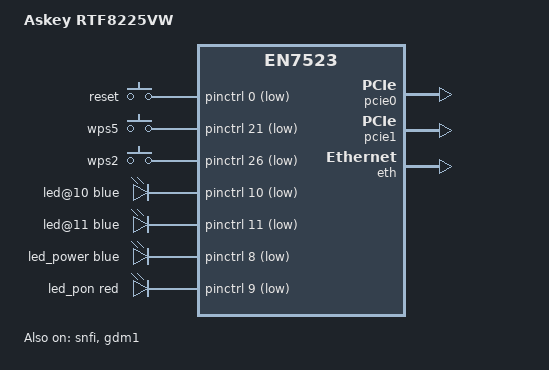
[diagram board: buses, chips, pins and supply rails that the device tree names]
// SPDX-License-Identifier: (GPL-2.0-only OR BSD-2-Clause)
/dts-v1/;

#include <dt-bindings/input/linux-event-codes.h>
#include <dt-bindings/leds/common.h>
#include <dt-bindings/gpio/gpio.h>
#include "en7523.dtsi"

/ {
	model = "Askey RTF8225VW";
	compatible = "askey,rtf8225vw", "airoha,en7523";

	aliases {
		serial0 = &uart1;
	};

	chosen {
		bootargs = "console=ttyS0,115200 earlycon";
		stdout-path = "serial0:115200n8";
		linux,usable-memory-range = <0x80200000 0x1fe00000>;
	};

	keys {
		compatible = "gpio-keys";

		reset {
			label = "reset";
			linux,code = <KEY_RESTART>;
			gpios = <&pinctrl 0 GPIO_ACTIVE_LOW>;
			debounce-interval = <60>;
		};

		wps5 {
			label = "wps5";
			linux,code = <KEY_WPS_BUTTON>;
			gpios = <&pinctrl 21 GPIO_ACTIVE_LOW>;
			debounce-interval = <60>;
		};

		wps2 {
			label = "wps2";
			linux,code = <KEY_WPS_BUTTON>;
			gpios = <&pinctrl 26 GPIO_ACTIVE_LOW>;
			debounce-interval = <60>;
		};
	};

	leds {
		compatible = "gpio-leds";

		/* 2.4Ghz */
		led@10 {
			color = <LED_COLOR_ID_BLUE>;
			function = LED_FUNCTION_WLAN_2GHZ;
			function-enumerator = <10>;
			gpios = <&pinctrl 10 GPIO_ACTIVE_LOW>;
		};

		/* 5Ghz */
		led@11 {
			color = <LED_COLOR_ID_BLUE>;
			function = LED_FUNCTION_WLAN_5GHZ;
			function-enumerator = <11>;
			gpios = <&pinctrl 11 GPIO_ACTIVE_LOW>;
		};

		/* Power */
		led_power: led@8 {
			color = <LED_COLOR_ID_BLUE>;
			function = LED_FUNCTION_WAN_ONLINE;
			function-enumerator = <8>;
			gpios = <&pinctrl 8 GPIO_ACTIVE_LOW>;
		};

		/* xPON */
		led_pon: led@9 {
			color = <LED_COLOR_ID_RED>;
			function = LED_FUNCTION_WAN_ONLINE;
			function-enumerator = <9>;
			gpios = <&pinctrl 9 GPIO_ACTIVE_LOW>;
		};
	};
};

&pcie0 {
	status = "okay";
};

&pcie1 {
	status = "okay";
};

&snfi {
	status = "okay";
};

&eth {
	status = "okay";
};

&gdm1 {
	status = "okay";
};

&spi_nand {
	partitions {
		compatible = "fixed-partitions";
		#address-cells = <1>;
		#size-cells = <1>;

		partition@0 {
			label = "u-boot";
			reg = <0x000000 0x100000>;
		};

		partition@100000 {
			label = "ubi";
			compatible = "linux,ubi";
			reg = <0x100000 0x000000>;
		};
	};
};
